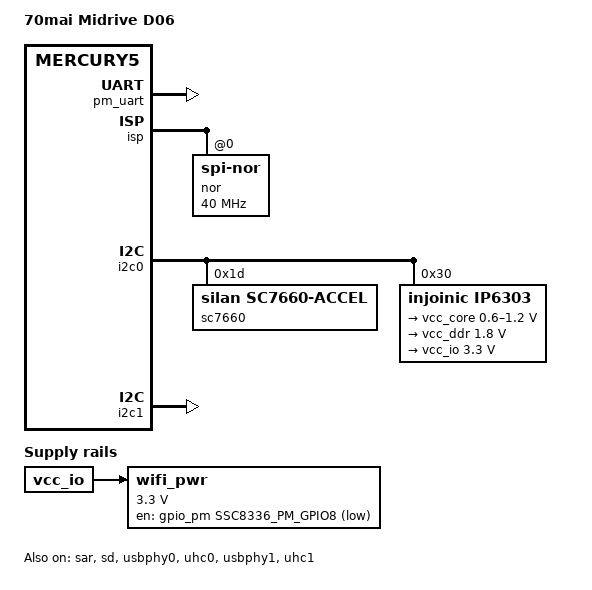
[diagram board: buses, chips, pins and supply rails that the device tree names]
// SPDX-License-Identifier: GPL-2.0-or-later
/*
 * Copyright (c) 2020 thingy.jp.
 * Author: Daniel Palmer <daniel@thingy.jp>
 */

/dts-v1/;
#include "mstar-mercury5-ssc8336n.dtsi"
#include <dt-bindings/gpio/gpio.h>
#include <dt-bindings/gpio/mstar.h>

/ {
	model = "70mai Midrive D06";
	compatible = "70mai,midrived06", "mstar,mercury5";

	aliases {
		serial0 = &pm_uart;
	};

	chosen {
		stdout-path = "serial0:115200n8";
	};

	 wifi_pwr: fixedregulator@0 {
		compatible = "regulator-fixed";
		regulator-name = "wifi_pwr";
		regulator-min-microvolt = <3300000>;
		regulator-max-microvolt = <3300000>;
		gpio = <&gpio_pm SSC8336_PM_GPIO8 0>;
		vin-supply = <&vcc_io>;
	};
};

&cpu0 {
	cpu-supply = <&vcc_core>;
};

&pm_uart {
	status = "okay";
};

&isp {
	status = "okay";
	nor: nor@0 {
		#address-cells = <1>;
		#size-cells = <1>;
		compatible = "jedec,spi-nor";
		reg = <0>;
		spi-max-frequency = <40000000>;
	};
};

&i2c0 {
	status = "okay";
	sc7660: sc7660@1d {
		compatible = "silan,sc7660-accel";
		reg = <0x1d>;
	};

	ip6303: ip6303@30 {
		compatible = "injoinic,ip6303";
		reg = <0x30>;
		regulators {
			vcc_core: dc1 {
				regulator-name = "vcc-core";
				regulator-min-microvolt = <600000>;
				regulator-max-microvolt = <1200000>;
				regulator-always-on;
			};

			vcc_ddr: dc2 {
				regulator-name = "vcc-ddr";
				regulator-min-microvolt = <1800000>;
				regulator-max-microvolt = <1800000>;
				regulator-always-on;
			};

			vcc_io: dc3 {
				regulator-name = "vcc-io";
				regulator-min-microvolt = <3300000>;
				regulator-max-microvolt = <3300000>;
				regulator-always-on;
			};
		};
	};
};

&i2c1 {
	status = "okay";
};

&sar {
	// front buttons are on here
	status = "okay";
};

&sd {
	vmmc-supply = <&vcc_io>;
	vqmmc-supply = <&vcc_io>;
	cd-gpios = <&gpio_pm SSC8336_PM_SD_SDZ GPIO_ACTIVE_LOW>;
	status = "okay";
};

&miu {
	ddr-supply = <&vcc_ddr>;
};

&usbphy0 {
	mstar,utmi-dxswap;
	status = "okay";
};

&uhc0 {
	status = "okay";
};

&usbphy1 {
	mstar,utmi-dxswap;
	status = "okay";
};

&uhc1 {
	status = "okay";
};
